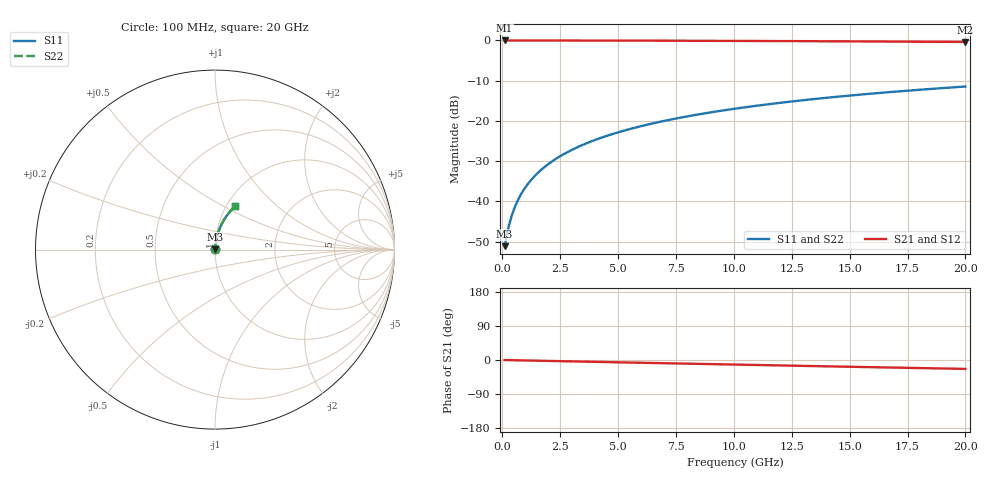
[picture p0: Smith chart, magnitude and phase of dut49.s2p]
! Touchstone file exported from HFSS 2026.1.0
!  File:  C:/ffzhzh/LocalFiles/Ansys_Project_Files/temp_train_TMRDL_49_1782880822_13352.aedt
!  Generated:  12:41:40 PM Jul  1, 2026
!  Design:  TMRDL
!  Project:  temp_train_TMRDL_49_1782880822_13352
! Variables:
!  h_bsmrdl = 2um
!  h_ox = 20um
!  h_rdl = 5um
!  h_sub = 80um
!  h_tmrdl = 3.06um
!  h_tsv = 80um
!  h_via = 3um
!  l_bsmrdl = 300um
!  l_sub = 683.66um
!  l_tmrdl = 283.66um
!  m_sub = 200um
!  pitch = 44.87um
!  r_tsv = 6um
!  s_tmrdl = 10um
!  w_bsmrdl = 18um
!  w_sub = 500um
!  w_tmrdl = 15.55um
!  x_tsv_center1 = 291.435um
!  x_tsv_center2 = 609.435um
!  x_tsv_center3 = 908.645um
!  x_tsv_center4 = 1226.645um
!  x_tsv_center5 = 1525.855um
!  x_tsv_center6 = 1843.855um
# GHz S MA R 50.000000
! Terminal data exported
! Port[1] = TM_RDL1_1_T1
! Port[2] = TM_RDL1_1_T2
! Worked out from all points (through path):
!   200 points, 100 MHz to 20 GHz, reference 50 ohm
!   highest |S21| = -0.02 dB at 100 MHz (marker M1); lowest = -0.4 dB at 20 GHz (marker M2)
!   group delay of S21, straight-line fit = 3.26 ps
!   lowest |S11| = -51.2 dB at 100 MHz (marker M3), VSWR 1.01, Z = 50.2 + j0.154 ohm
!   |S11| at or under -10 dB: start of sweep to end of sweep
!   |S22| runs from -51.2 to -11.5 dB; largest |S21 - S12| = 3e-15
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0.1  0.002768 33.6  0.9977 -0.1  0.9977 -0.1  0.002768 33.6
! Gamma 0 0 0 0
! Port Impedance 50 0 50 0
0.2  0.003853 52.3  0.9977 -0.3  0.9977 -0.3  0.003853 52.3
0.3  0.00515 61.8  0.9976 -0.4  0.9976 -0.4  0.00515 61.8
0.4  0.006517 67.3  0.9975 -0.5  0.9975 -0.5  0.006517 67.3
0.5  0.007906 70.8  0.9975 -0.6  0.9975 -0.6  0.007906 70.8
0.6  0.009305 73.2  0.9974 -0.8  0.9974 -0.8  0.009305 73.2
0.8  0.01212 76.4  0.9973 -1.0  0.9973 -1.0  0.01212 76.4
1.1  0.01636 79.0  0.9971 -1.4  0.9971 -1.4  0.01636 79.0
1.3  0.0192 80.1  0.9971 -1.6  0.9971 -1.6  0.0192 80.1
1.6  0.02348 81.1  0.9969 -2.0  0.9969 -2.0  0.02348 81.1
2.1  0.03063 82.0  0.9966 -2.6  0.9966 -2.6  0.03063 82.0
2.7  0.03921 82.3  0.9962 -3.3  0.9962 -3.3  0.03921 82.3
3.5  0.05064 82.1  0.9955 -4.3  0.9955 -4.3  0.05065 82.1
4.2  0.06061 81.7  0.9948 -5.1  0.9948 -5.1  0.06061 81.7
5  0.07195 81.1  0.9939 -6.1  0.9939 -6.1  0.07195 81.1
5.9  0.08461 80.2  0.9926 -7.2  0.9926 -7.2  0.08461 80.2
6.8  0.09718 79.3  0.9912 -8.3  0.9912 -8.3  0.09718 79.3
8.3  0.1179 77.7  0.9885 -10.1  0.9885 -10.1  0.1179 77.7
10.1  0.1423 75.8  0.9848 -12.2  0.9848 -12.2  0.1423 75.8
13.4  0.1857 72.1  0.9766 -16.0  0.9766 -16.0  0.1857 72.1
16.7  0.2273 68.5  0.9671 -19.8  0.9671 -19.8  0.2273 68.5
20  0.2669 65.0  0.9564 -23.5  0.9564 -23.5  0.2669 64.9
